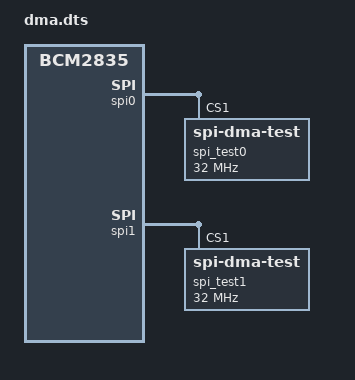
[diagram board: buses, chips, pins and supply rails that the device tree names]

 
/dts-v1/;
/plugin/;
 
/ {
	compatible = "brcm,bcm2835";
 
	fragment@0 {
		target = <&spi0>;
		__overlay__ {
			#address-cells = <1>;
			#size-cells = <0>;
			status = "okay";
 
			spidev@1{
				status = "disabled";
			};
 
			spi_test0@1{
				spi-max-frequency = <32000000>;
				reg = <1>;
				compatible = "spi-dma-test";
			};
		};
	};
	fragment@1 {
		target = <&spi1>;
		__overlay__ {
			#address-cells = <1>;
			#size-cells = <0>;
			status = "okay";
 
			spidev@1{
				status = "disabled";
			};
 
			spi_test1@1{
				spi-max-frequency = <32000000>;
				reg = <1>;
				compatible = "spi-dma-test";
			};
		};
	};
};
